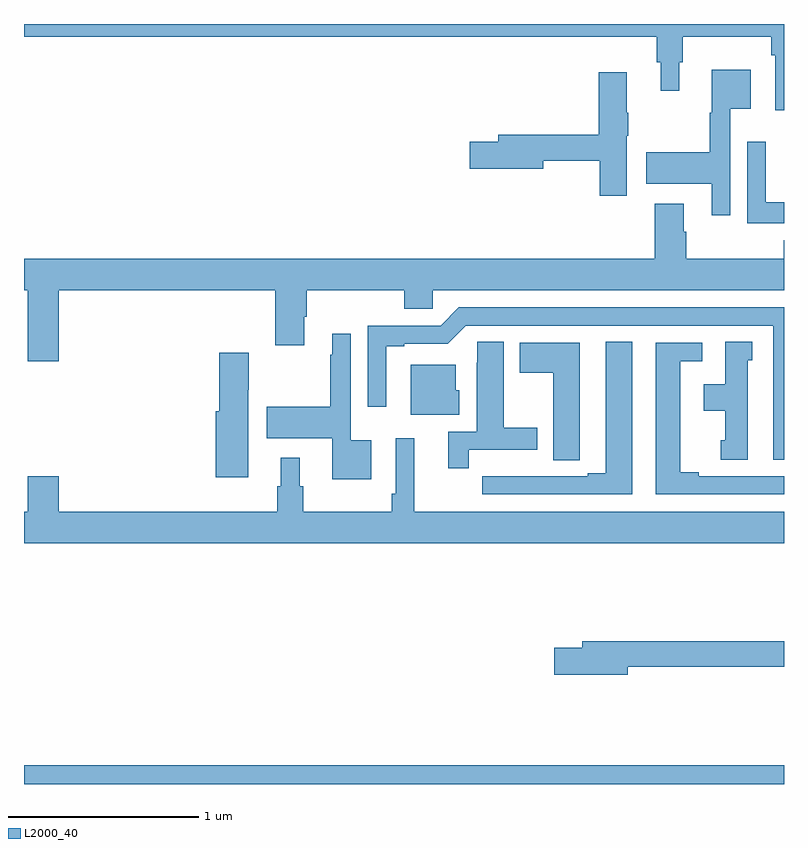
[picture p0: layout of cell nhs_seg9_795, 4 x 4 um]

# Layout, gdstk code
import gdstk
lib = gdstk.Library(unit=1e-6, precision=1e-09)
def R(c, l, rs):  # rectangles x0, y0, x1, y1
    for r in rs: c.add(gdstk.rectangle(r[:2], r[2:], *l))
def P(c, l, *ps):  # polygons
    for p in ps: c.add(gdstk.Polygon(p, *l))
L2000_40 = (2000, 40)

nhs_seg9_795 = lib.new_cell('nhs_seg9_795')
R(nhs_seg9_795, L2000_40, [(153,1180.5,157,1180.6)])
P(nhs_seg9_795, L2000_40, [(157,1184.5),(153,1184.5),(153,1184.432),(156.331,1184.432),(156.331,1184.298),(156.35,1184.298),(156.35,1184.148),(156.448,1184.148),(156.448,1184.298),(156.467,1184.298),(156.467,1184.432),(156.934,1184.432),(156.934,1184.336),(156.954,1184.336),(156.954,1184.046),(157,1184.046)],
  [(156.717,1184.054),(156.826,1184.054),(156.826,1184.26),(156.62,1184.26),(156.62,1184.034),(156.609,1184.034),(156.609,1183.824),(156.276,1183.824),(156.276,1183.658),(156.62,1183.658),(156.62,1183.494),(156.717,1183.494)],
  [(156.172,1183.912),(156.18,1183.912),(156.18,1184.032),(156.172,1184.032),(156.172,1184.245),(156.026,1184.245),(156.026,1183.916),(155.495,1183.916),(155.495,1183.88),(155.346,1183.88),(155.346,1183.738),(155.734,1183.738),(155.734,1183.78),(156.031,1183.78),(156.031,1183.596),(156.172,1183.596)],
  [(157,1183.561),(156.904,1183.561),(156.904,1183.879),(156.807,1183.879),(156.807,1183.452),(157,1183.452)],
  [(153.184,1183.1),(154.322,1183.1),(154.322,1182.81),(154.474,1182.81),(154.474,1182.958),(154.487,1182.958),(154.487,1183.1),(155,1183.1),(155,1183.002),(155.151,1183.002),(155.151,1183.1),(157,1183.1),(157,1183.362),(156.998,1183.362),(156.998,1183.264),(156.485,1183.264),(156.485,1183.406),(156.472,1183.406),(156.472,1183.555),(156.32,1183.555),(156.32,1183.264),(153,1183.264),(153,1183.1),(153.02,1183.1),(153.02,1182.726),(153.184,1182.726)],
  [(157,1183.008),(155.289,1183.008),(155.193,1182.912),(154.809,1182.912),(154.809,1182.486),(154.906,1182.486),(154.906,1182.804),(155.002,1182.804),(155.002,1182.816),(155.229,1182.816),(155.325,1182.912),(156.944,1182.912),(156.944,1182.207),(157,1182.207)],
  [(154.828,1182.31),(154.719,1182.31),(154.719,1182.871),(154.622,1182.871),(154.622,1182.758),(154.611,1182.758),(154.611,1182.486),(154.278,1182.486),(154.278,1182.32),(154.622,1182.32),(154.622,1182.104),(154.828,1182.104)],
  [(155.342,1182.258),(155.701,1182.258),(155.701,1182.375),(155.524,1182.375),(155.524,1182.827),(155.385,1182.827),(155.385,1182.716),(155.384,1182.716),(155.384,1182.354),(155.234,1182.354),(155.234,1182.162),(155.342,1182.162)],
  [(156.808,1182.729),(156.832,1182.729),(156.832,1182.827),(156.692,1182.827),(156.692,1182.604),(156.578,1182.604),(156.578,1182.464),(156.692,1182.464),(156.692,1182.309),(156.668,1182.309),(156.668,1182.207),(156.808,1182.207)],
  [(156.202,1182.827),(156.062,1182.827),(156.062,1182.135),(155.966,1182.135),(155.966,1182.12),(155.69,1182.12),(155.69,1182.121),(155.524,1182.121),(155.524,1182.12),(155.412,1182.12),(155.412,1182.024),(156.202,1182.024)],
  [(155.925,1182.313),(155.926,1182.313),(155.926,1182.823),(155.609,1182.823),(155.609,1182.664),(155.786,1182.664),(155.786,1182.205),(155.925,1182.205)],
  [(157,1182.12),(156.55,1182.12),(156.55,1182.14),(156.454,1182.14),(156.454,1182.726),(156.571,1182.726),(156.571,1182.822),(156.326,1182.822),(156.326,1182.024),(157,1182.024)],
  [(154.18,1182.574),(154.182,1182.574),(154.182,1182.769),(154.028,1182.769),(154.028,1182.462),(154.01,1182.462),(154.01,1182.114),(154.18,1182.114)],
  [(155.29,1182.573),(155.272,1182.573),(155.272,1182.706),(155.036,1182.706),(155.036,1182.443),(155.29,1182.443)],
  [(157,1181.932),(155.054,1181.932),(155.054,1182.319),(154.956,1182.319),(154.956,1182.028),(154.936,1182.028),(154.936,1181.932),(154.469,1181.932),(154.469,1182.066),(154.45,1182.066),(154.45,1182.217),(154.352,1182.217),(154.352,1182.066),(154.333,1182.066),(154.333,1181.932),(153.184,1181.932),(153.184,1182.121),(153.02,1182.121),(153.02,1181.932),(153,1181.932),(153,1181.768),(157,1181.768)],
  [(156.178,1181.116),(157,1181.116),(157,1181.252),(155.939,1181.252),(155.939,1181.216),(155.79,1181.216),(155.79,1181.074),(156.178,1181.074)])

lib.write_gds('nhs_seg9_795.gds')
